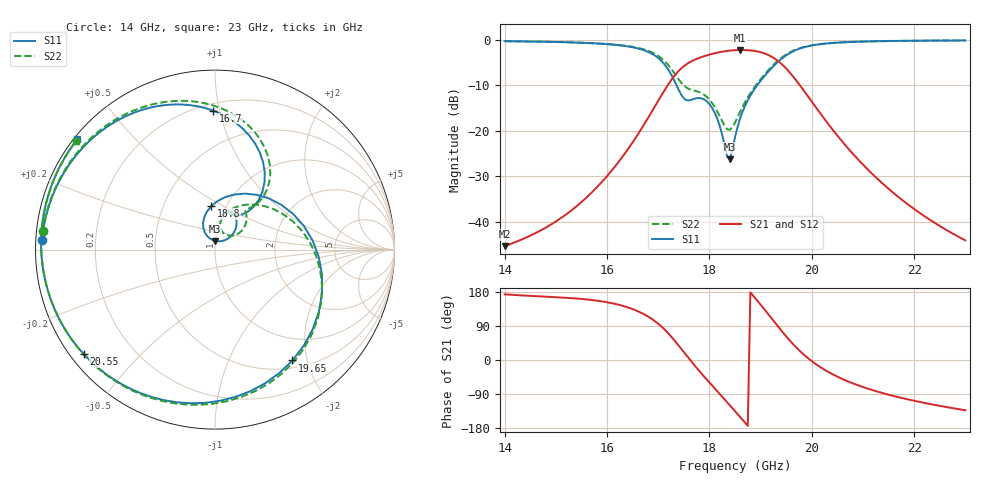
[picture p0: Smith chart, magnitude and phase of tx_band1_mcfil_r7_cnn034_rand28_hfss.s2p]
! Touchstone file exported from HFSS 3D Layout Design 2026.1.0
!  File:  D:/Work/SIM/ADS_AUTO_SIM/projects/RFSOC_RF/TX_Fillter.aedt
!  Generated:  11:25:21 PM Aug 30, 2026
!  Design:  TX_BAND1_MCFIL_R7_CNN034
!  Project:  TX_Fillter
# GHz S MA R 50.000000
! Terminal data exported
! Port[1] = Port1
! Port[2] = Port2
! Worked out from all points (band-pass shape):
!   181 points, 14 GHz to 23 GHz, reference 50 ohm
!   highest |S21| = -2.24 dB at 18.6 GHz (marker M1); lowest = -45.4 dB at 14 GHz (marker M2)
!   |S21| within 3 dB of the highest: 17.57 GHz to 19.4 GHz (1.83 GHz wide, 9.9 % of centre)
!   lowest |S11| = -26.2 dB at 18.4 GHz (marker M3), VSWR 1.10, Z = 49.7 + j4.85 ohm
!   |S11| at or under -10 dB: 17.36 GHz to 18.93 GHz (1.576 GHz wide, 8.68 % of centre)
!   |S22| runs from -19.8 to -0.2 dB; largest |S21 - S12| = 1.3e-14
!   S11 on the Smith chart (normalised r, x): 14 GHz: 0.02, +0.03; 16.7 GHz: 0.25, +0.96; 18.8 GHz: 0.86, +0.44; 19.65 GHz: 0.61, -1.75; 20.55 GHz: 0.04, -0.35; 23 GHz: 0.01, +0.35
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14  0.9656 176.9  0.005384 173.3  0.005384 173.3  0.965 173.8
15.5  0.928 141.2  0.01642 161.2  0.01642 161.2  0.9284 137.2
16.25  0.8691 114.5  0.04732 145.0  0.04732 145.0  0.8739 110.6
16.7  0.7746 90.8  0.1114 122.4  0.1114 122.4  0.7899 87.9
17  0.6307 69.2  0.2136 95.8  0.2136 95.8  0.6648 67.9
17.4  0.2818 49.1  0.4547 37.9  0.4547 37.9  0.3673 47.3
17.6  0.215 66.4  0.5602 3.8  0.5602 3.8  0.2879 51.7
17.75  0.2279 68.8  0.6162 -20.8  0.6162 -20.8  0.2721 51.1
18.1  0.1595 44.6  0.7099 -74.4  0.7099 -74.4  0.1837 35.3
18.4  0.04873 90.9  0.7605 -119.7  0.7605 -119.7  0.1024 60.7
18.5  0.08443 119.8  0.7689 -134.9  0.7689 -134.9  0.1227 75.4
18.6  0.1363 118.5  0.7724 -150.3  0.7724 -150.3  0.1616 78.5
18.8  0.2436 94.8  0.7639 178.4  0.7639 178.4  0.2584 65.0
19  0.3542 61.7  0.7294 146.0  0.7294 146.0  0.3691 40.9
19.2  0.4787 24.5  0.6586 112.3  0.6586 112.3  0.4965 12.0
19.45  0.6439 -22.1  0.5156 70.3  0.5156 70.3  0.6605 -26.4
19.65  0.7533 -55.0  0.3852 39.6  0.3852 39.6  0.7646 -55.1
20  0.8665 -98.9  0.2087 -3.1  0.2087 -3.1  0.8689 -95.7
20.55  0.9347 -141.5  0.08159 -47.2  0.08159 -47.2  0.9323 -137.8
20.95  0.9552 -161.8  0.04535 -69.0  0.04535 -69.0  0.9525 -158.5
21.5  0.9697 177.8  0.02298 -91.6  0.02298 -91.6  0.9676 -179.7
23  0.9829 141.3  0.006233 -132.6  0.006233 -132.6  0.9824 142.0
